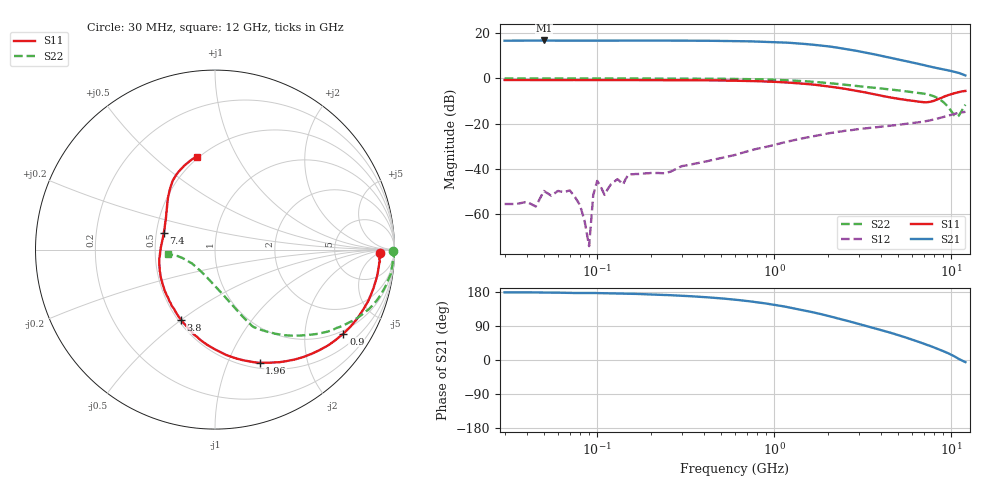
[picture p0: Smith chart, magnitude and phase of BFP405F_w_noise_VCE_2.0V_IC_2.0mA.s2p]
! Infineon Technologies  Discrete & RF Semiconductors
! BFP405F
! VCE =  2.0 V,  IC =  2.0 mA
! Common Emitter S-Parameters:  Nov 2015
# GHz  S  MA  R  50
!  f  S11  S21  S12  S22
! GHz  MAG  ANG  MAG  ANG  MAG  ANG  MAG  ANG
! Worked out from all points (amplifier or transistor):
!   239 points, 30 MHz to 12 GHz, reference 50 ohm
!   highest |S21| = 16.7 dB at 50 MHz (marker M1)
!   |S21| within 3 dB of that: start of sweep to 2.199 GHz
!   unconditionally stable (mu >= 1): 3.969 GHz to end of sweep
!   at 300 MHz: K = -0.03, MSG = 27.7 dB, |S12| = -38.7 dB
!   at 1.88 GHz: K = 0.38, MSG = 19.5 dB, |S12| = -24.7 dB
!   at 12 GHz: K = 1.67, MAG = 3.2 dB, |S12| = -14.7 dB
!   lowest NFmin = 1.01 dB at 450 MHz
!   S11 on the Smith chart (normalised r, x): 30 MHz: 23, -5; 900 MHz: 0.90, -3.12; 1.96 GHz: 0.56, -1.31; 3.8 GHz: 0.52, -0.50; 7.4 GHz: 0.55, +0.11; 12 GHz: 0.49, +0.70
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0.03  0.9207 -1.1  6.771 178.6  0.0017 114.3  0.9932 -0.5
0.045  0.9186 -1.6  6.819 178.2  0.0015 164.8  0.9944 -0.9
0.05  0.9187 -1.9  6.859 177.9  0.0033 -160.4  0.9924 -1.1
0.07  0.9223 -2.8  6.819 176.9  0.0034 78.2  0.9954 -1.5
0.085  0.9174 -3.2  6.784 176.8  0.0007 102.3  0.9983 -1.5
0.09  0.9171 -3.4  6.796 176.9  0.0002 -68.7  0.9974 -1.7
0.095  0.9184 -3.6  6.79 176.8  0.0027 96.6  0.9978 -1.9
0.1  0.9198 -3.8  6.784 176.6  0.0055 97.1  0.9982 -2.0
0.11  0.9213 -4.2  6.778 176.2  0.0027 70.4  0.9959 -2.0
0.15  0.9175 -5.6  6.81 175.2  0.0076 92.0  0.9937 -2.9
0.24  0.9154 -9.0  6.792 171.7  0.0081 94.9  0.9927 -4.7
0.6  0.8902 -22.3  6.633 159.2  0.0205 81.9  0.973 -11.8
0.9  0.8551 -33.2  6.419 149.0  0.0308 74.8  0.945 -17.4
1.2  0.8079 -43.9  6.114 139.2  0.0408 70.1  0.9074 -22.4
1.64  0.7325 -58.3  5.548 126.3  0.0524 62.7  0.8437 -29.2
1.96  0.6775 -68.5  5.154 117.8  0.0602 58.1  0.798 -33.8
2.72  0.5577 -89.7  4.248 100.5  0.072 49.5  0.7016 -42.6
3.8  0.4346 -115.7  3.297 82.1  0.084 42.2  0.612 -51.1
4.5  0.3824 -131.9  2.875 72.4  0.0901 39.4  0.5711 -54.8
7.4  0.3001 162.1  1.862 38.9  0.1164 34.8  0.4399 -65.7
10.6  0.4801 114.8  1.375 7.4  0.1682 25.7  0.1439 -123.7
12  0.5282 101.1  1.161 -5.6  0.1837 19.9  0.2636 -174.8
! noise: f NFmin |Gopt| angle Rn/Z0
0.45  1.01  0.58  7  0.45
0.9  1.03  0.54  15  0.46
1.5  1.15  0.52  21  0.41
1.9  1.2  0.49  29  0.4
2.4  1.39  0.46  38  0.41
3  1.47  0.43  49  0.39
3.5  1.53  0.42  59  0.36
4.5  1.72  0.35  76  0.3
5.5  1.97  0.23  93  0.22
